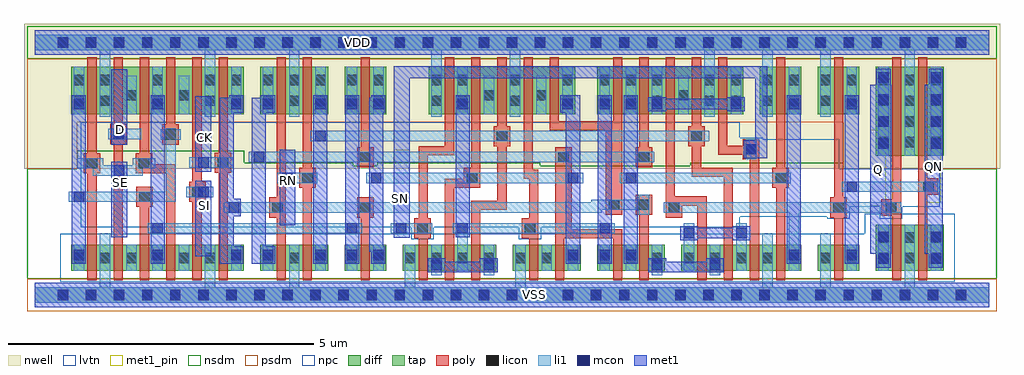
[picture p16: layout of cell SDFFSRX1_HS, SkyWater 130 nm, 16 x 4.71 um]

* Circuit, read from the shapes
.subckt SDFFSRX1_HS CK D Q QN RN SE SI SN VDD VSS
XM1 VSS SE n1 VSS sky130_fd_pr__nfet_01v8_lvt w=0.425 l=0.15
XM2 n2 D VSS VSS sky130_fd_pr__nfet_01v8_lvt w=0.425 l=0.15
XM3 n3 n1 n2 VSS sky130_fd_pr__nfet_01v8_lvt w=0.425 l=0.15
XM4 n4 SE n3 VSS sky130_fd_pr__nfet_01v8_lvt w=0.425 l=0.15
XM5 VSS SI n4 VSS sky130_fd_pr__nfet_01v8_lvt w=0.425 l=0.15
XM6 n5 CK VSS VSS sky130_fd_pr__nfet_01v8_lvt w=0.425 l=0.15
XM7 VSS n5 n6 VSS sky130_fd_pr__nfet_01v8_lvt w=0.425 l=0.15
XM8 n7 RN VSS VSS sky130_fd_pr__nfet_01v8_lvt w=0.425 l=0.15
XM9 n8 n5 n3 VSS sky130_fd_pr__nfet_01v8_lvt w=0.425 l=0.15
XM10 n9 SN VSS VSS sky130_fd_pr__nfet_01v8_lvt w=0.425 l=0.15
XM11 n10 n8 n9 VSS sky130_fd_pr__nfet_01v8_lvt w=0.425 l=0.15
XM12 n9 n7 n10 VSS sky130_fd_pr__nfet_01v8_lvt w=0.425 l=0.15
XM13 n11 n10 VSS VSS sky130_fd_pr__nfet_01v8_lvt w=0.425 l=0.15
XM14 n8 n6 n11 VSS sky130_fd_pr__nfet_01v8_lvt w=0.425 l=0.15
XM15 n12 n6 n10 VSS sky130_fd_pr__nfet_01v8_lvt w=0.425 l=0.15
XM16 n13 n5 n12 VSS sky130_fd_pr__nfet_01v8_lvt w=0.425 l=0.15
XM17 n13 n14 n15 VSS sky130_fd_pr__nfet_01v8_lvt w=0.425 l=0.15
XM18 n15 n7 n13 VSS sky130_fd_pr__nfet_01v8_lvt w=0.425 l=0.15
XM19 VSS SN n15 VSS sky130_fd_pr__nfet_01v8_lvt w=0.425 l=0.15
XM20 n14 n12 VSS VSS sky130_fd_pr__nfet_01v8_lvt w=0.425 l=0.15
XM21 n16 n14 VSS VSS sky130_fd_pr__nfet_01v8_lvt w=0.425 l=0.15
XM22 VSS n14 Q VSS sky130_fd_pr__nfet_01v8_lvt w=0.76 l=0.15
XM23 QN n16 VSS VSS sky130_fd_pr__nfet_01v8_lvt w=0.76 l=0.15
XM24 VDD SE n1 VDD sky130_fd_pr__pfet_01v8 w=0.78 l=0.15
XM25 n17 D VDD VDD sky130_fd_pr__pfet_01v8 w=0.78 l=0.15
XM26 n3 SE n17 VDD sky130_fd_pr__pfet_01v8 w=0.78 l=0.15
XM27 n18 n1 n3 VDD sky130_fd_pr__pfet_01v8 w=0.78 l=0.15
XM28 VDD SI n18 VDD sky130_fd_pr__pfet_01v8 w=0.78 l=0.15
XM29 n5 CK VDD VDD sky130_fd_pr__pfet_01v8 w=0.78 l=0.15
XM30 VDD n5 n6 VDD sky130_fd_pr__pfet_01v8 w=0.78 l=0.15
XM31 n7 RN VDD VDD sky130_fd_pr__pfet_01v8 w=0.78 l=0.15
XM32 n8 n6 n3 VDD sky130_fd_pr__pfet_01v8 w=0.78 l=0.15
XM33 n10 SN VDD VDD sky130_fd_pr__pfet_01v8 w=0.78 l=0.15
XM34 n19 n8 n10 VDD sky130_fd_pr__pfet_01v8 w=0.78 l=0.15
XM35 VDD n7 n19 VDD sky130_fd_pr__pfet_01v8 w=0.78 l=0.15
XM36 n20 n10 VDD VDD sky130_fd_pr__pfet_01v8 w=0.78 l=0.15
XM37 n8 n5 n20 VDD sky130_fd_pr__pfet_01v8 w=0.78 l=0.15
XM38 n12 n5 n10 VDD sky130_fd_pr__pfet_01v8 w=0.78 l=0.15
XM39 n21 n6 n12 VDD sky130_fd_pr__pfet_01v8 w=0.78 l=0.15
XM40 n22 n14 n21 VDD sky130_fd_pr__pfet_01v8 w=0.78 l=0.15
XM41 VDD n7 n22 VDD sky130_fd_pr__pfet_01v8 w=0.78 l=0.15
XM42 n21 SN VDD VDD sky130_fd_pr__pfet_01v8 w=0.78 l=0.15
XM43 n14 n12 VDD VDD sky130_fd_pr__pfet_01v8 w=0.78 l=0.15
XM44 n16 n14 VDD VDD sky130_fd_pr__pfet_01v8 w=0.78 l=0.15
XM45 VDD n14 Q VDD sky130_fd_pr__pfet_01v8 w=1.46 l=0.15
XM46 QN n16 VDD VDD sky130_fd_pr__pfet_01v8 w=1.46 l=0.15
.ends

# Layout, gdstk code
from math import pi, radians
import gdstk
lib = gdstk.Library(unit=1e-6, precision=1e-09)
def R(c, l, rs):  # rectangles x0, y0, x1, y1
    for r in rs: c.add(gdstk.rectangle(r[:2], r[2:], *l))
def A(c, l, x, y, w, h, nx, ny, dx, dy):  # array of equal rectangles
    R(c, l, [(x+i*dx, y+j*dy, x+i*dx+w, y+j*dy+h) for i in range(nx) for j in range(ny)])
def P(c, l, *ps):  # polygons
    for p in ps: c.add(gdstk.Polygon(p, *l))
nwell = (64, 20)
diff = (65, 20)
tap = (65, 44)
poly = (66, 20)
licon = (66, 44)
li1 = (67, 20)
mcon = (67, 44)
met1_pin = (68, 16)
met1 = (68, 20)
nsdm = (93, 44)
psdm = (94, 20)
npc = (95, 20)
lvtn = (125, 44)

pyl1con_c_cdns_758729172 = lib.new_cell('PYL1CON_C_CDNS_758729172862')
R(pyl1con_c_cdns_758729172, poly, [(-0.135,-0.165,0.135,0.165)])
R(pyl1con_c_cdns_758729172, licon, [(-0.085,-0.085,0.085,0.085)])
R(pyl1con_c_cdns_758729172, npc, [(-0.185,-0.185,0.185,0.185)])

l1m1_c_cdns_758729172863 = lib.new_cell('L1M1_C_CDNS_758729172863')
R(l1m1_c_cdns_758729172863, li1, [(-0.085,-0.165,0.085,0.165)])
R(l1m1_c_cdns_758729172863, mcon, [(-0.085,-0.085,0.085,0.085)])
R(l1m1_c_cdns_758729172863, met1, [(-0.145,-0.115,0.145,0.115)])

l1m1_c_cdns_758729172861 = lib.new_cell('L1M1_C_CDNS_758729172861')
R(l1m1_c_cdns_758729172861, li1, [(-0.085,-0.165,0.085,0.165)])
R(l1m1_c_cdns_758729172861, mcon, [(-0.085,-0.085,0.085,0.085)])
R(l1m1_c_cdns_758729172861, met1, [(-0.115,-0.145,0.115,0.145)])

l1m1_c_cdns_758729172864 = lib.new_cell('L1M1_C_CDNS_758729172864')
R(l1m1_c_cdns_758729172864, li1, [(-0.085,-0.345,0.085,0.345)])
R(l1m1_c_cdns_758729172864, mcon, [(-0.085,-0.265,0.085,-0.095), (-0.085,0.095,0.085,0.265)])
R(l1m1_c_cdns_758729172864, met1, [(-0.115,-0.325,0.115,0.325)])

l1m1_c_cdns_758729172860 = lib.new_cell('L1M1_C_CDNS_758729172860')
R(l1m1_c_cdns_758729172860, li1, [(-0.165,-0.085,0.165,0.085)])
R(l1m1_c_cdns_758729172860, mcon, [(-0.085,-0.085,0.085,0.085)])
R(l1m1_c_cdns_758729172860, met1, [(-0.115,-0.145,0.115,0.145)])

l1m1_c_cdns_758729172862 = lib.new_cell('L1M1_C_CDNS_7587291728624')
R(l1m1_c_cdns_758729172862, li1, [(-0.085,-0.705,0.085,0.705)])
A(l1m1_c_cdns_758729172862, mcon, -0.085, -0.625, 0.17, 0.17, 1, 4, 0, 0.36)
R(l1m1_c_cdns_758729172862, met1, [(-0.115,-0.685,0.115,0.685)])

polyconn_cdns_7587291728 = lib.new_cell('polyConn_CDNS_758729172861')
R(polyconn_cdns_7587291728, poly, [(-0.135,-0.165,0.135,0.165)])
R(polyconn_cdns_7587291728, licon, [(-0.085,-0.085,0.085,0.085)])
R(polyconn_cdns_7587291728, li1, [(-0.085,-0.165,0.085,0.165)])
R(polyconn_cdns_7587291728, mcon, [(-0.085,-0.085,0.085,0.085)])
R(polyconn_cdns_7587291728, met1, [(-0.115,-0.145,0.115,0.145)])
R(polyconn_cdns_7587291728, npc, [(-0.185,-0.185,0.185,0.185)])

licondiff_c_cdns_7587291 = lib.new_cell('LICONDIFF_C_CDNS_7587291728611')
R(licondiff_c_cdns_7587291, diff, [(-0.125,-0.145,0.125,0.145)])
R(licondiff_c_cdns_7587291, licon, [(-0.085,-0.085,0.085,0.085), (-0.085,-0.085,0.085,0.085)])

sdffsrx1_hs = lib.new_cell('SDFFSRX1_HS')
R(sdffsrx1_hs, nwell, [(-0.18,2.07,15.82,4.445)])
R(sdffsrx1_hs, diff, [(0.595,0.395,3.425,0.82), (3.695,0.395,4.805,0.82), (5.075,0.395,5.755,0.82), (6.025,0.395,7.565,0.82), (7.835,0.395,8.945,0.82), (9.215,0.395,10.325,0.82), (10.595,0.395,12.565,0.82), (12.835,0.395,13.515,0.82), (13.785,0.395,14.895,1.155), (13.785,2.285,14.895,3.745), (0.595,2.965,3.425,3.745), (3.695,2.965,4.805,3.745), (5.075,2.965,5.755,3.745), (6.455,2.965,8.855,3.745), (9.215,2.965,11.615,3.745), (11.885,2.965,12.565,3.745), (12.835,2.965,13.515,3.745)])
A(sdffsrx1_hs, poly, 12.15, 0.245, 0.15, 3.65, 3, 1, 0.95, 0)
R(sdffsrx1_hs, poly, [(0.86,0.245,1.01,3.895), (1.29,0.245,1.44,3.895), (1.72,0.245,1.87,1.705), (2.58,0.245,2.73,3.895), (3.01,0.245,3.16,3.895), (3.96,0.245,4.11,3.895), (4.39,0.245,4.54,3.895), (5.34,0.245,5.49,1.435), (9.91,0.245,10.06,1.345), (14.48,0.245,14.63,3.895), (9.91,2.145,10.06,3.895), (5.34,2.16,5.49,3.895), (2.15,2.465,2.3,3.895)])
P(sdffsrx1_hs, poly, [(2.3,2.145),(1.87,2.145),(1.87,3.895),(1.72,3.895),(1.72,1.995),(2.15,1.995),(2.15,0.245),(2.3,0.245)],
  [(6.87,3.895),(6.72,3.895),(6.72,2.44),(6.29,2.44),(6.29,0.245),(6.44,0.245),(6.44,2.29),(6.87,2.29)],
  [(7.3,3.895),(7.15,3.895),(7.15,1.905),(6.72,1.905),(6.72,0.245),(6.87,0.245),(6.87,1.755),(7.3,1.755)],
  [(7.73,3.895),(7.58,3.895),(7.58,1.545),(7.15,1.545),(7.15,0.245),(7.3,0.245),(7.3,1.395),(7.73,1.395)],
  [(8.25,2.055),(8.16,2.055),(8.16,3.895),(8.01,3.895),(8.01,1.905),(8.1,1.905),(8.1,0.245),(8.25,0.245)],
  [(9.63,3.895),(9.48,3.895),(9.48,2.85),(8.59,2.85),(8.59,3.895),(8.44,3.895),(8.44,2.7),(9.36,2.7),(9.36,1.315),(9.63,1.315)],
  [(9.63,1.08),(8.8,1.08),(8.8,2.425),(8.53,2.425),(8.53,0.245),(8.68,0.245),(8.68,0.93),(9.48,0.93),(9.48,0.245),(9.63,0.245)],
  [(11.01,1.615),(10.49,1.615),(10.49,3.895),(10.34,3.895),(10.34,1.465),(10.86,1.465),(10.86,0.245),(11.01,0.245)],
  [(11.44,2.085),(10.92,2.085),(10.92,3.895),(10.77,3.895),(10.77,1.935),(11.29,1.935),(11.29,0.245),(11.44,0.245)],
  [(11.87,2.445),(11.35,2.445),(11.35,3.895),(11.2,3.895),(11.2,2.295),(11.72,2.295),(11.72,0.245),(11.87,0.245)])
A(sdffsrx1_hs, licon, 0.375, -0.085, 0.17, 0.17, 33, 2, 0.46, 4.14)
A(sdffsrx1_hs, licon, 1.065, 0.52, 0.17, 0.17, 3, 2, 0.86, 2.58)
A(sdffsrx1_hs, licon, 3.735, 0.52, 0.17, 0.17, 3, 2, 0.43, 2.58)
A(sdffsrx1_hs, licon, 6.065, 0.52, 0.17, 0.17, 4, 1, 0.43, 0)
A(sdffsrx1_hs, licon, 9.255, 0.52, 0.17, 0.17, 3, 2, 0.43, 2.58)
A(sdffsrx1_hs, licon, 10.635, 0.52, 0.17, 0.17, 5, 1, 0.43, 0)
A(sdffsrx1_hs, licon, 13.825, 0.52, 0.17, 0.17, 3, 2, 0.43, 0.34)
A(sdffsrx1_hs, licon, 13.825, 2.42, 0.17, 0.17, 3, 4, 0.43, 0.34)
A(sdffsrx1_hs, licon, 6.925, 3.1, 0.17, 0.17, 3, 2, 0.86, 0.34)
A(sdffsrx1_hs, licon, 1.065, 3.44, 0.17, 0.17, 3, 1, 0.86, 0)
A(sdffsrx1_hs, licon, 3.735, 3.44, 0.17, 0.17, 3, 1, 0.43, 0)
A(sdffsrx1_hs, licon, 9.255, 3.44, 0.17, 0.17, 3, 1, 0.43, 0)
R(sdffsrx1_hs, licon, [(0.635,0.52,0.805,0.69), (3.215,0.52,3.385,0.69), (5.115,0.52,5.285,0.69), (5.545,0.52,5.715,0.69), (7.875,0.52,8.045,0.69), (8.735,0.52,8.905,0.69), (12.875,0.52,13.045,0.69), (13.305,0.52,13.475,0.69), (0.635,3.1,0.805,3.27), (3.215,3.1,3.385,3.27), (5.115,3.1,5.285,3.27), (5.545,3.1,5.715,3.27), (6.495,3.1,6.665,3.27), (10.975,3.1,11.145,3.27), (11.405,3.1,11.575,3.27), (11.925,3.1,12.095,3.27), (12.355,3.1,12.525,3.27), (12.875,3.1,13.045,3.27), (13.305,3.1,13.475,3.27), (0.635,3.44,0.805,3.61), (3.215,3.44,3.385,3.61), (5.115,3.44,5.285,3.61), (5.545,3.44,5.715,3.61), (6.495,3.44,6.665,3.61), (10.975,3.44,11.145,3.61), (11.405,3.44,11.575,3.61), (11.925,3.44,12.095,3.61), (12.355,3.44,12.525,3.61), (12.875,3.44,13.045,3.61), (13.305,3.44,13.475,3.61)])
A(sdffsrx1_hs, li1, 0.635, 0.395, 0.17, 0.425, 3, 1, 1.29, 0)
A(sdffsrx1_hs, li1, 9.255, 0.395, 0.17, 0.425, 3, 1, 0.43, 0)
A(sdffsrx1_hs, li1, 0.635, 2.965, 0.17, 0.78, 3, 1, 1.29, 0)
A(sdffsrx1_hs, li1, 9.255, 2.965, 0.17, 0.78, 3, 1, 0.43, 0)
A(sdffsrx1_hs, li1, 11.405, 2.965, 0.17, 0.78, 3, 1, 0.95, 0)
R(sdffsrx1_hs, li1, [(3.735,0.395,3.905,0.82), (4.595,0.395,4.765,0.82), (5.115,0.395,5.285,0.82), (5.545,0.395,5.715,0.82), (6.495,0.395,6.665,0.82), (7.355,0.395,7.525,0.82), (8.735,0.395,8.905,0.82), (10.635,0.395,10.805,1.08), (11.065,0.395,11.235,0.82), (11.495,0.395,11.665,1.08), (13.305,0.395,13.475,0.82), (13.825,0.395,13.995,1.155), (14.685,0.395,14.855,1.155), (2.525,2.085,3.25,2.255), (13.825,2.285,13.995,3.745), (14.685,2.285,14.855,3.745), (3.735,2.965,3.905,3.745), (4.595,2.965,4.765,3.745), (5.115,2.965,5.285,3.745), (5.545,2.965,5.715,3.745), (6.925,2.965,7.095,3.745), (8.645,2.965,8.815,3.745)])
P(sdffsrx1_hs, li1, [(2.39,2.715),(2.31,2.715),(2.31,2.735),(2.14,2.735),(2.14,2.715),(2.06,2.715),(2.06,2.545),(2.14,2.545),(2.14,1.695),(0.72,1.695),(0.72,1.525),(2.31,1.525),(2.31,2.545),(2.39,2.545)],
  [(9.505,1.18),(6.845,1.18),(6.845,1.01),(6.925,1.01),(6.925,0.395),(7.095,0.395),(7.095,1.01),(9.505,1.01)],
  [(10.07,1.645),(9.9,1.645),(9.9,1.565),(9.12,1.565),(9.12,1.52),(3.135,1.52),(3.135,1.35),(9.29,1.35),(9.29,1.395),(9.9,1.395),(9.9,1.315),(10.07,1.315)],
  [(14.2,1.52),(10.31,1.52),(10.31,1.35),(12.355,1.35),(12.355,0.395),(12.525,0.395),(12.525,1.35),(14.2,1.35)],
  [(15.64,4.265),(0,4.265),(0,4.015),(1.065,4.015),(1.065,2.925),(1.235,2.925),(1.235,4.015),(2.785,4.015),(2.785,2.925),(2.955,2.925),(2.955,4.015),(4.165,4.015),(4.165,2.925),(4.335,2.925),(4.335,4.015),(6.495,4.015),(6.495,2.925),(6.665,2.925),(6.665,4.015),(7.785,4.015),(7.785,2.925),(7.955,2.925),(7.955,4.015),(10.975,4.015),(10.975,2.925),(11.145,2.925),(11.145,4.015),(11.925,4.015),(11.925,2.925),(12.095,2.925),(12.095,4.015),(12.875,4.015),(12.875,2.925),(13.045,2.925),(13.045,4.015),(14.255,4.015),(14.255,2.285),(14.425,2.285),(14.425,4.015),(15.64,4.015)],
  [(15.64,0.125),(14.425,0.125),(14.425,1.155),(14.255,1.155),(14.255,0.125),(13.045,0.125),(13.045,1.015),(12.875,1.015),(12.875,0.125),(12.095,0.125),(12.095,1.015),(11.925,1.015),(11.925,0.125),(8.045,0.125),(8.045,0.82),(7.875,0.82),(7.875,0.125),(6.235,0.125),(6.235,0.82),(6.065,0.82),(6.065,0.125),(4.335,0.125),(4.335,0.82),(4.165,0.82),(4.165,0.125),(2.955,0.125),(2.955,0.82),(2.785,0.82),(2.785,0.125),(1.235,0.125),(1.235,1.015),(1.065,1.015),(1.065,0.125),(0,0.125),(0,-0.125),(15.64,-0.125)])
A(sdffsrx1_hs, mcon, 0.375, -0.085, 0.17, 0.17, 33, 2, 0.46, 4.14)
R(sdffsrx1_hs, met1_pin, [(2.63,0.635,2.89,1.875), (1.25,0.945,1.51,2.185), (4.01,1.145,4.27,2.385), (5.885,1.145,6.145,2.385), (13.69,1.465,13.95,2.705), (14.59,1.515,14.85,2.755), (2.63,2.02,2.89,3.26), (1.25,2.46,1.51,3.7)])
R(sdffsrx1_hs, met1, [(13.69,0.68,14.035,3.45)])
P(sdffsrx1_hs, met1, [(12.005,3.75),(5.885,3.75),(5.885,0.94),(6.145,0.94),(6.145,3.55),(11.805,3.55),(11.805,2.245),(12.005,2.245)],
  [(14.885,3.445),(14.85,3.445),(14.85,3.45),(14.59,3.45),(14.59,0.675),(14.885,0.675)])
R(sdffsrx1_hs, nsdm, [(-0.125,3.875,15.765,4.405)])
P(sdffsrx1_hs, nsdm, [(15.765,2.07),(13.25,2.07),(13.25,2.165),(10.74,2.165),(10.74,2.115),(8.28,2.115),(8.28,2.165),(5.61,2.165),(5.61,2.115),(5.22,2.115),(5.22,2.165),(3.43,2.165),(3.43,2.365),(0.69,2.365),(0.69,2.07),(-0.125,2.07),(-0.125,0.265),(15.765,0.265)])
R(sdffsrx1_hs, psdm, [(-0.125,-0.265,15.765,0.265)])
P(sdffsrx1_hs, psdm, [(15.765,3.875),(-0.125,3.875),(-0.125,2.07),(0.69,2.07),(0.69,2.835),(13.25,2.835),(13.25,2.07),(15.765,2.07)])
P(sdffsrx1_hs, npc, [(14.83,2.07),(13.185,2.07),(13.185,2.55),(11.92,2.55),(11.92,2.575),(11.55,2.575),(11.55,2.835),(0.75,2.835),(0.75,1.11),(11.55,1.11),(11.55,1.285),(13.185,1.285),(13.185,1.445),(14.83,1.445)])
P(sdffsrx1_hs, lvtn, [(15.075,1.335),(13.605,1.335),(13.605,1),(0.415,1),(0.415,0.215),(15.075,0.215)])
sdffsrx1_hs.add(gdstk.FlexPath([(4.68,2.605),(11.05,2.605)], 0.17, ends="flush", simple_path=True, layer=67, datatype=20))  # li1
sdffsrx1_hs.add(gdstk.FlexPath([(0.69,2.16),(1.035,2.16),(1.035,2.04),(1.685,2.04),(1.685,2.16),(1.97,2.16)], 0.17, ends="flush", simple_path=True, layer=67, datatype=20))  # li1
sdffsrx1_hs.add(gdstk.FlexPath([(1.745,2.64),(1.2,2.64)], 0.17, ends="flush", simple_path=True, layer=67, datatype=20))  # li1
sdffsrx1_hs.add(gdstk.FlexPath([(2.76,1.69),(2.48,1.69)], 0.17, ends="flush", simple_path=True, layer=67, datatype=20))  # li1
sdffsrx1_hs.add(gdstk.FlexPath([(3.67,2.26),(10.15,2.26)], 0.17, ends="flush", simple_path=True, layer=67, datatype=20))  # li1
sdffsrx1_hs.add(gdstk.FlexPath([(1.58,2.965),(1.58,3.59)], 0.17, ends="flush", simple_path=True, layer=67, datatype=20))  # li1
sdffsrx1_hs.add(gdstk.FlexPath([(1.845,1.095),(5.365,1.095)], 0.17, ends="flush", simple_path=True, layer=67, datatype=20))  # li1
sdffsrx1_hs.add(gdstk.FlexPath([(7.44,2.965),(7.44,3.59)], 0.17, ends="flush", simple_path=True, layer=67, datatype=20))  # li1
sdffsrx1_hs.add(gdstk.FlexPath([(8.3,2.965),(8.3,3.59)], 0.17, ends="flush", simple_path=True, layer=67, datatype=20))  # li1
sdffsrx1_hs.add(gdstk.FlexPath([(9.585,1.92),(12.39,1.92)], 0.17, ends="flush", simple_path=True, layer=67, datatype=20))  # li1
sdffsrx1_hs.add(gdstk.FlexPath([(2.44,2.965),(2.44,3.59)], 0.17, ends="flush", simple_path=True, layer=67, datatype=20))  # li1
sdffsrx1_hs.add(gdstk.FlexPath([(5.63,1.92),(8.985,1.92)], 0.17, ends="flush", simple_path=True, layer=67, datatype=20))  # li1
sdffsrx1_hs.add(gdstk.FlexPath([(13.225,1.775),(14.81,1.775)], 0.17, ends="flush", simple_path=True, layer=67, datatype=20))  # li1
sdffsrx1_hs.add(gdstk.FlexPath([(10.63,2.965),(10.63,3.59)], 0.17, ends="flush", simple_path=True, layer=67, datatype=20))  # li1
sdffsrx1_hs.add(gdstk.FlexPath([(1.58,0.395),(1.58,0.82)], 0.17, ends="flush", simple_path=True, layer=67, datatype=20))  # li1
sdffsrx1_hs.add(gdstk.FlexPath([(2.44,0.395),(2.44,0.82)], 0.17, ends="flush", simple_path=True, layer=67, datatype=20))  # li1
sdffsrx1_hs.add(gdstk.FlexPath([(8.39,0.395),(8.39,0.82)], 0.17, ends="flush", simple_path=True, layer=67, datatype=20))  # li1
sdffsrx1_hs.add(gdstk.FlexPath([(4.63,1.92),(4.085,1.92)], 0.17, ends="flush", simple_path=True, layer=67, datatype=20))  # li1
sdffsrx1_hs.add(gdstk.FlexPath([(6.515,1.095),(5.97,1.095)], 0.17, ends="flush", simple_path=True, layer=67, datatype=20))  # li1
sdffsrx1_hs.add(gdstk.FlexPath([(0,4.14),(15.64,4.14)], 0.4, ends="flush", simple_path=True, layer=68, datatype=20))  # met1
sdffsrx1_hs.add(gdstk.FlexPath([(0,0),(15.64,0)], 0.4, ends="flush", simple_path=True, layer=68, datatype=20))  # met1
sdffsrx1_hs.add(gdstk.FlexPath([(3.67,0.51),(3.67,3.235)], 0.23, ends="flush", simple_path=True, layer=68, datatype=20))  # met1
sdffsrx1_hs.add(gdstk.FlexPath([(4.14,1.145),(4.14,2.385)], 0.26, ends="flush", simple_path=True, layer=68, datatype=20))  # met1
sdffsrx1_hs.add(gdstk.FlexPath([(2.76,2.02),(2.76,3.26)], 0.26, ends="flush", simple_path=True, layer=68, datatype=20))  # met1
sdffsrx1_hs.add(gdstk.FlexPath([(2.76,0.635),(2.76,1.875)], 0.26, ends="flush", simple_path=True, layer=68, datatype=20))  # met1
sdffsrx1_hs.add(gdstk.FlexPath([(3.145,0.51),(3.145,3.235)], 0.23, ends="flush", simple_path=True, layer=68, datatype=20))  # met1
sdffsrx1_hs.add(gdstk.FlexPath([(2.01,0.705),(2.01,3.235)], 0.23, ends="flush", simple_path=True, layer=68, datatype=20))  # met1
sdffsrx1_hs.add(gdstk.FlexPath([(5.2,0.705),(5.2,3.235)], 0.23, ends="flush", simple_path=True, layer=68, datatype=20))  # met1
sdffsrx1_hs.add(gdstk.FlexPath([(13.39,0.705),(13.39,3.235)], 0.23, ends="flush", simple_path=True, layer=68, datatype=20))  # met1
sdffsrx1_hs.add(gdstk.FlexPath([(12.44,0.705),(12.44,3.235)], 0.23, ends="flush", simple_path=True, layer=68, datatype=20))  # met1
sdffsrx1_hs.add(gdstk.FlexPath([(9.77,0.705),(9.77,3.235)], 0.23, ends="flush", simple_path=True, layer=68, datatype=20))  # met1
sdffsrx1_hs.add(gdstk.FlexPath([(9.34,0.705),(9.34,3.235)], 0.23, ends="flush", simple_path=True, layer=68, datatype=20))  # met1
sdffsrx1_hs.add(gdstk.FlexPath([(4.68,0.705),(4.68,3.235)], 0.23, ends="flush", simple_path=True, layer=68, datatype=20))  # met1
sdffsrx1_hs.add(gdstk.FlexPath([(5.595,0.705),(5.595,3.235)], 0.23, ends="flush", simple_path=True, layer=68, datatype=20))  # met1
sdffsrx1_hs.add(gdstk.FlexPath([(8.82,0.705),(8.82,3.275)], 0.23, ends="flush", simple_path=True, layer=68, datatype=20))  # met1
sdffsrx1_hs.add(gdstk.FlexPath([(0.72,0.705),(0.72,3.235)], 0.23, ends="flush", simple_path=True, layer=68, datatype=20))  # met1
sdffsrx1_hs.add(gdstk.FlexPath([(10.055,0.46),(11.295,0.46)], 0.17, ends="flush", simple_path=True, layer=68, datatype=20))  # met1
sdffsrx1_hs.add(gdstk.FlexPath([(10.055,3.13),(11.635,3.13)], 0.17, ends="flush", simple_path=True, layer=68, datatype=20))  # met1
sdffsrx1_hs.add(gdstk.FlexPath([(10.575,1.015),(11.725,1.015)], 0.17, ends="flush", simple_path=True, layer=68, datatype=20))  # met1
sdffsrx1_hs.add(gdstk.FlexPath([(7.01,1.145),(7.01,3.235)], 0.23, ends="flush", simple_path=True, layer=68, datatype=20))  # met1
sdffsrx1_hs.add(gdstk.FlexPath([(6.435,0.46),(7.585,0.46)], 0.17, ends="flush", simple_path=True, layer=68, datatype=20))  # met1
sdffsrx1_hs.add(gdstk.FlexPath([(1.38,2.46),(1.38,3.7)], 0.26, ends="flush", simple_path=True, layer=68, datatype=20))  # met1
sdffsrx1_hs.add(gdstk.FlexPath([(1.38,0.945),(1.38,2.185)], 0.26, ends="flush", simple_path=True, layer=68, datatype=20))  # met1
sdffsrx1_hs.add(gdstk.FlexPath([(0,4.14),(15.64,4.14)], 0.4, ends="flush", simple_path=True, layer=68, datatype=16))  # met1_pin
sdffsrx1_hs.add(gdstk.FlexPath([(0,0),(15.64,0)], 0.4, ends="flush", simple_path=True, layer=68, datatype=16))  # met1_pin
sdffsrx1_hs.add(gdstk.FlexPath([(0,4.14),(15.64,4.14)], 0.25, ends="flush", simple_path=True, layer=65, datatype=44))  # tap
sdffsrx1_hs.add(gdstk.FlexPath([(0,0),(15.64,0)], 0.25, ends="flush", simple_path=True, layer=65, datatype=44))  # tap
sdffsrx1_hs.add(gdstk.Reference(pyl1con_c_cdns_758729172, (14.645,1.775), rotation=pi/2, x_reflection=True))
sdffsrx1_hs.add(gdstk.Reference(pyl1con_c_cdns_758729172, (6.35,1.095), x_reflection=True))
sdffsrx1_hs.add(gdstk.Reference(pyl1con_c_cdns_758729172, (4.465,1.92), x_reflection=True))
sdffsrx1_hs.add(gdstk.Reference(pyl1con_c_cdns_758729172, (1.365,2.64), x_reflection=True))
sdffsrx1_hs.add(gdstk.Reference(pyl1con_c_cdns_758729172, (3.085,2.17), x_reflection=True))
sdffsrx1_hs.add(gdstk.Reference(pyl1con_c_cdns_758729172, (2.665,1.69), x_reflection=True))
sdffsrx1_hs.add(gdstk.Reference(pyl1con_c_cdns_758729172, (0.935,2.16)))
sdffsrx1_hs.add(gdstk.Reference(pyl1con_c_cdns_758729172, (1.785,2.16)))
sdffsrx1_hs.add(gdstk.Reference(pyl1con_c_cdns_758729172, (14.035,1.435), rotation=pi/2, x_reflection=True))
sdffsrx1_hs.add(gdstk.Reference(pyl1con_c_cdns_758729172, (10.845,2.605)))
sdffsrx1_hs.add(gdstk.Reference(pyl1con_c_cdns_758729172, (7.655,2.605)))
sdffsrx1_hs.add(gdstk.Reference(pyl1con_c_cdns_758729172, (7.165,1.92)))
sdffsrx1_hs.add(gdstk.Reference(pyl1con_c_cdns_758729172, (13.175,1.435), rotation=pi, x_reflection=True))
sdffsrx1_hs.add(gdstk.Reference(pyl1con_c_cdns_758729172, (12.225,1.92), rotation=pi, x_reflection=True))
sdffsrx1_hs.add(gdstk.Reference(pyl1con_c_cdns_758729172, (9.495,1.48), x_reflection=True))
sdffsrx1_hs.add(gdstk.Reference(pyl1con_c_cdns_758729172, (9.985,1.48)))
sdffsrx1_hs.add(gdstk.Reference(pyl1con_c_cdns_758729172, (3.975,1.435)))
sdffsrx1_hs.add(gdstk.Reference(pyl1con_c_cdns_758729172, (5.415,1.435)))
sdffsrx1_hs.add(gdstk.Reference(pyl1con_c_cdns_758729172, (9.985,2.26)))
sdffsrx1_hs.add(gdstk.Reference(pyl1con_c_cdns_758729172, (5.415,2.26)))
sdffsrx1_hs.add(gdstk.Reference(pyl1con_c_cdns_758729172, (8.665,2.26)))
sdffsrx1_hs.add(gdstk.Reference(pyl1con_c_cdns_758729172, (8.115,1.095)))
sdffsrx1_hs.add(gdstk.Reference(pyl1con_c_cdns_758729172, (10.475,1.435), rotation=pi, x_reflection=True))
sdffsrx1_hs.add(gdstk.Reference(pyl1con_c_cdns_758729172, (2.225,2.63), x_reflection=True))
sdffsrx1_hs.add(gdstk.Reference(pyl1con_c_cdns_758729172, (1.795,1.61)))
sdffsrx1_hs.add(gdstk.Reference(l1m1_c_cdns_758729172863, (6.58,0.49)))
sdffsrx1_hs.add(gdstk.Reference(l1m1_c_cdns_758729172863, (11.58,1.015)))
sdffsrx1_hs.add(gdstk.Reference(l1m1_c_cdns_758729172863, (10.72,1.015)))
sdffsrx1_hs.add(gdstk.Reference(l1m1_c_cdns_758729172863, (11.15,0.49)))
sdffsrx1_hs.add(gdstk.Reference(l1m1_c_cdns_758729172863, (10.2,0.49)))
sdffsrx1_hs.add(gdstk.Reference(l1m1_c_cdns_758729172863, (11.49,3.13)))
sdffsrx1_hs.add(gdstk.Reference(l1m1_c_cdns_758729172863, (10.2,3.13)))
sdffsrx1_hs.add(gdstk.Reference(l1m1_c_cdns_758729172863, (7.44,0.49)))
sdffsrx1_hs.add(gdstk.Reference(l1m1_c_cdns_758729172861, (0.72,3.13)))
sdffsrx1_hs.add(gdstk.Reference(l1m1_c_cdns_758729172861, (0.72,0.655)))
sdffsrx1_hs.add(gdstk.Reference(l1m1_c_cdns_758729172861, (8.82,0.655)))
sdffsrx1_hs.add(gdstk.Reference(l1m1_c_cdns_758729172861, (8.73,3.13)))
sdffsrx1_hs.add(gdstk.Reference(l1m1_c_cdns_758729172861, (5.63,3.13)))
sdffsrx1_hs.add(gdstk.Reference(l1m1_c_cdns_758729172861, (5.63,0.655)))
sdffsrx1_hs.add(gdstk.Reference(l1m1_c_cdns_758729172861, (4.68,3.13)))
sdffsrx1_hs.add(gdstk.Reference(l1m1_c_cdns_758729172861, (4.68,0.655)))
sdffsrx1_hs.add(gdstk.Reference(l1m1_c_cdns_758729172861, (2.01,0.655)))
sdffsrx1_hs.add(gdstk.Reference(l1m1_c_cdns_758729172861, (2.01,3.13)))
sdffsrx1_hs.add(gdstk.Reference(l1m1_c_cdns_758729172861, (5.2,0.655)))
sdffsrx1_hs.add(gdstk.Reference(l1m1_c_cdns_758729172861, (5.2,3.13)))
sdffsrx1_hs.add(gdstk.Reference(l1m1_c_cdns_758729172861, (9.77,3.13)))
sdffsrx1_hs.add(gdstk.Reference(l1m1_c_cdns_758729172861, (9.77,0.655)))
sdffsrx1_hs.add(gdstk.Reference(l1m1_c_cdns_758729172861, (3.3,0.655)))
sdffsrx1_hs.add(gdstk.Reference(l1m1_c_cdns_758729172861, (3.3,3.13)))
sdffsrx1_hs.add(gdstk.Reference(l1m1_c_cdns_758729172861, (3.82,0.655)))
sdffsrx1_hs.add(gdstk.Reference(l1m1_c_cdns_758729172861, (3.82,3.13)))
sdffsrx1_hs.add(gdstk.Reference(l1m1_c_cdns_758729172861, (9.34,0.655)))
sdffsrx1_hs.add(gdstk.Reference(l1m1_c_cdns_758729172861, (7.01,3.13)))
sdffsrx1_hs.add(gdstk.Reference(l1m1_c_cdns_758729172861, (12.44,3.13), rotation=pi, x_reflection=True))
sdffsrx1_hs.add(gdstk.Reference(l1m1_c_cdns_758729172861, (12.44,0.655), rotation=pi, x_reflection=True))
sdffsrx1_hs.add(gdstk.Reference(l1m1_c_cdns_758729172861, (13.39,3.13)))
sdffsrx1_hs.add(gdstk.Reference(l1m1_c_cdns_758729172861, (13.39,0.655)))
sdffsrx1_hs.add(gdstk.Reference(l1m1_c_cdns_758729172861, (9.34,3.13)))
sdffsrx1_hs.add(gdstk.Reference(l1m1_c_cdns_758729172864, (14.77,0.775)))
sdffsrx1_hs.add(gdstk.Reference(l1m1_c_cdns_758729172864, (13.91,0.775)))
sdffsrx1_hs.add(gdstk.Reference(l1m1_c_cdns_758729172860, (6,1.095), x_reflection=True))
sdffsrx1_hs.add(gdstk.Reference(l1m1_c_cdns_758729172860, (4.14,1.92), x_reflection=True))
sdffsrx1_hs.add(gdstk.Reference(l1m1_c_cdns_758729172860, (1.38,2.04), x_reflection=True))
sdffsrx1_hs.add(gdstk.Reference(l1m1_c_cdns_758729172860, (1.38,2.64), x_reflection=True))
sdffsrx1_hs.add(gdstk.Reference(l1m1_c_cdns_758729172860, (2.76,2.17), x_reflection=True))
sdffsrx1_hs.add(gdstk.Reference(l1m1_c_cdns_758729172860, (13.39,1.775)))
sdffsrx1_hs.add(gdstk.Reference(l1m1_c_cdns_758729172860, (0.72,1.61)))
sdffsrx1_hs.add(gdstk.Reference(l1m1_c_cdns_758729172860, (4.68,2.605)))
sdffsrx1_hs.add(gdstk.Reference(l1m1_c_cdns_758729172860, (8.82,1.92)))
sdffsrx1_hs.add(gdstk.Reference(l1m1_c_cdns_758729172860, (5.595,1.92)))
sdffsrx1_hs.add(gdstk.Reference(l1m1_c_cdns_758729172860, (2.01,1.095)))
sdffsrx1_hs.add(gdstk.Reference(l1m1_c_cdns_758729172860, (5.2,1.095)))
sdffsrx1_hs.add(gdstk.Reference(l1m1_c_cdns_758729172860, (3.26,1.435)))
sdffsrx1_hs.add(gdstk.Reference(l1m1_c_cdns_758729172860, (3.67,2.26)))
sdffsrx1_hs.add(gdstk.Reference(l1m1_c_cdns_758729172860, (7.01,1.095)))
sdffsrx1_hs.add(gdstk.Reference(l1m1_c_cdns_758729172860, (9.34,1.095)))
sdffsrx1_hs.add(gdstk.Reference(l1m1_c_cdns_758729172860, (9.77,1.92)))
sdffsrx1_hs.add(gdstk.Reference(l1m1_c_cdns_758729172860, (2.76,1.69), x_reflection=True))
sdffsrx1_hs.add(gdstk.Reference(l1m1_c_cdns_758729172862, (14.77,3.025)))
sdffsrx1_hs.add(gdstk.Reference(l1m1_c_cdns_758729172862, (13.91,3.025)))
sdffsrx1_hs.add(gdstk.Reference(polyconn_cdns_7587291728, (11.735,2.39)))
sdffsrx1_hs.add(gdstk.Reference(licondiff_c_cdns_7587291, (8.39,0.605)))
sdffsrx1_hs.add(gdstk.Reference(licondiff_c_cdns_7587291, (2.44,0.605)))
sdffsrx1_hs.add(gdstk.Reference(licondiff_c_cdns_7587291, (1.58,0.605)))
sdffsrx1_hs.add(gdstk.Reference(licondiff_c_cdns_7587291, (10.63,3.275)))
sdffsrx1_hs.add(gdstk.Reference(licondiff_c_cdns_7587291, (8.3,3.275)))
sdffsrx1_hs.add(gdstk.Reference(licondiff_c_cdns_7587291, (7.44,3.275)))
sdffsrx1_hs.add(gdstk.Reference(licondiff_c_cdns_7587291, (2.44,3.275)))
sdffsrx1_hs.add(gdstk.Reference(licondiff_c_cdns_7587291, (1.58,3.275)))
sdffsrx1_hs.add(gdstk.Label('VDD', (5.285,4.145), layer=68, texttype=5))
sdffsrx1_hs.add(gdstk.Label('QN', (14.735,2.11), layer=68, texttype=5))
sdffsrx1_hs.add(gdstk.Label('Q', (13.835,2.06), layer=68, texttype=5))
sdffsrx1_hs.add(gdstk.Label('RN', (4.155,1.88), layer=68, texttype=5))
sdffsrx1_hs.add(gdstk.Label('CK', (2.775,2.575), layer=68, texttype=5))
sdffsrx1_hs.add(gdstk.Label('SI', (2.775,1.465), layer=68, texttype=5))
sdffsrx1_hs.add(gdstk.Label('SN', (5.995,1.585), layer=68, texttype=5))
sdffsrx1_hs.add(gdstk.Label('SE', (1.395,1.85), layer=68, texttype=5))
sdffsrx1_hs.add(gdstk.Label('D', (1.395,2.705), layer=68, texttype=5))
sdffsrx1_hs.add(gdstk.Label('VSS', (8.195,0.005), layer=68, texttype=5))

lib.write_gds('SDFFSRX1_HS.gds')
